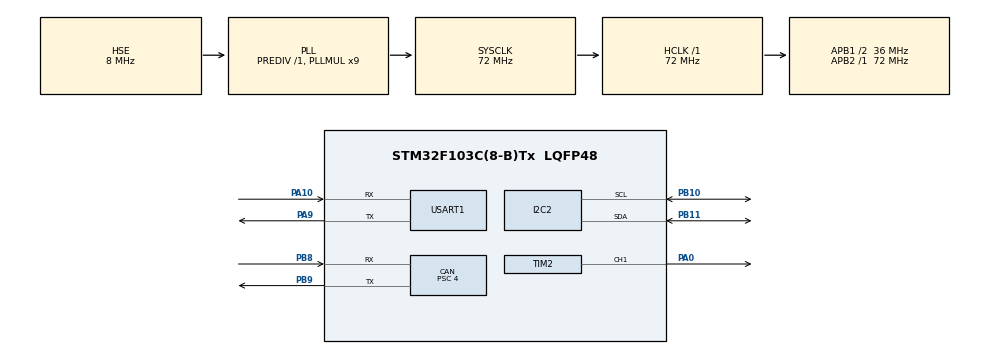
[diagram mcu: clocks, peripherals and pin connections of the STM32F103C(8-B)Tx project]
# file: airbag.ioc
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CAN.BS1=CAN_BS1_14TQ
CAN.BS2=CAN_BS2_3TQ
CAN.CalculateBaudRate=500000
CAN.CalculateTimeBit=2000
CAN.CalculateTimeQuantum=111.11111111111111
CAN.Prescaler=4
I2C2.I2C_Mode=I2C_Fast
Mcu.Family=STM32F1
Mcu.Name=STM32F103C(8-B)Tx
Mcu.Package=LQFP48
NVIC.PriorityGroup=NVIC_PRIORITYGROUP_4
NVIC.USB_LP_CAN1_RX0_IRQn=true\:0\:0\:false\:false\:true\:true\:true\:true
PA0-WKUP.Signal=S_TIM2_CH1_ETR
PA10.Mode=Asynchronous
PA10.Signal=USART1_RX
PA13.Mode=Serial_Wire
PA13.Signal=SYS_JTMS-SWDIO
PA14.Mode=Serial_Wire
PA14.Signal=SYS_JTCK-SWCLK
PA9.Mode=Asynchronous
PA9.Signal=USART1_TX
PB10.Mode=I2C
PB10.Signal=I2C2_SCL
PB11.Mode=I2C
PB11.Signal=I2C2_SDA
PB8.Mode=CAN_Activate
PB8.Signal=CAN_RX
PB9.Mode=CAN_Activate
PB9.Signal=CAN_TX
PD0-OSC_IN.Mode=HSE-External-Oscillator
PD0-OSC_IN.Signal=RCC_OSC_IN
PD1-OSC_OUT.Mode=HSE-External-Oscillator
PD1-OSC_OUT.Signal=RCC_OSC_OUT
ProjectManager.HeapSize=0x200
ProjectManager.StackSize=0x400
ProjectManager.TargetToolchain=CMake
RCC.AHBFreq_Value=72000000
RCC.APB1CLKDivider=RCC_HCLK_DIV2
RCC.APB1Freq_Value=36000000
RCC.APB1TimFreq_Value=72000000
RCC.APB2Freq_Value=72000000
RCC.APB2TimFreq_Value=72000000
RCC.HCLKFreq_Value=72000000
RCC.PLLMUL=RCC_PLL_MUL9
RCC.PLLSourceVirtual=RCC_PLLSOURCE_HSE
RCC.SYSCLKFreq_VALUE=72000000
RCC.SYSCLKSource=RCC_SYSCLKSOURCE_PLLCLK
RCC.USBFreq_Value=72000000
SH.S_TIM2_CH1_ETR.0=TIM2_CH1,PWM Generation1 CH1
TIM2.Channel-PWM\ Generation1\ CH1=TIM_CHANNEL_1
TIM2.Prescaler=71
USART1.VirtualMode=VM_ASYNC
VP_TIM2_VS_ClockSourceINT.Mode=Internal
board=custom

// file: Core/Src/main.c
/* USER CODE BEGIN Header */
/**
  ******************************************************************************
  * @file           : main.c
  * @brief          : Main program body
  ******************************************************************************
  * @attention
  *
  * Copyright (c) 2026 STMicroelectronics.
  * All rights reserved.
  *
  * This software is licensed under terms that can be found in the LICENSE file
  * in the root directory of this software component.
  * If no LICENSE file comes with this software, it is provided AS-IS.
  *
  ******************************************************************************
  */
/* USER CODE END Header */
#include "main.h"
#include "can.h"
#include "i2c.h"
#include "tim.h"
#include "usart.h"
#include "gpio.h"

/* USER CODE BEGIN Includes */
#include <math.h>
#include <stdio.h>
/* USER CODE END Includes */

/* USER CODE BEGIN PD */
#define MPU6050_ADDR 0xD0
#define SMPLRT_DIV_REG 0x19
#define ACCEL_CONFIG_REG 0x1C
#define ACCEL_XOUT_H_REG 0x3B
#define PWR_MGMT_1_REG 0x6B
#define WHO_AM_I_REG 0x75
/* USER CODE END PD */

/* USER CODE BEGIN PV */
int16_t Accel_X_RAW = 0;
int16_t Accel_Y_RAW = 0;
int16_t Accel_Z_RAW = 0;
float Ax, Ay, Az;
uint8_t is_crashed = 0;

CAN_TxHeaderTypeDef TxHeader;
uint32_t TxMailbox;
uint8_t TxData[8];

// Du lieu tu cac Node khac tren mang CAN (phai co volatile vi duoc cap nhat trong ngat)
volatile uint8_t ext_throttle = 0;
volatile uint8_t ext_brake = 0;
volatile uint32_t ext_rpm = 0;
volatile uint8_t ext_steering = 127;
volatile uint8_t ext_abs_active = 0;
/* USER CODE END PV */

void SystemClock_Config(void);
/* USER CODE BEGIN PFP */
void MPU6050_Init(void);
void MPU6050_Read_Accel(void);
void CAN_Filter_Config(void);
/* USER CODE END PFP */

/* USER CODE BEGIN 0 */
void MPU6050_Init(void)
{
  uint8_t check;
  uint8_t Data;

  // Check device ID
  HAL_I2C_Mem_Read(&hi2c2, MPU6050_ADDR, WHO_AM_I_REG, 1, &check, 1, 1000);

  // Wake up the sensor
  Data = 0x00;
  HAL_I2C_Mem_Write(&hi2c2, MPU6050_ADDR, PWR_MGMT_1_REG, 1, &Data, 1, 1000);

  // Set DATA RATE of 1KHz by writing SMPLRT_DIV register
  Data = 0x07;
  HAL_I2C_Mem_Write(&hi2c2, MPU6050_ADDR, SMPLRT_DIV_REG, 1, &Data, 1, 1000);

  // Set accelerometer configuration in ACCEL_CONFIG Register
  // FS_SEL=1 -> +/- 4g (8192 LSB/g)
  Data = 0x08;
  HAL_I2C_Mem_Write(&hi2c2, MPU6050_ADDR, ACCEL_CONFIG_REG, 1, &Data, 1, 10);
}

void MPU6050_Read_Accel(void)
{
  uint8_t Rec_Data[6] = {0}; // Khởi tạo bằng 0 để tránh rác RAM nếu I2C lỗi

  // Read 6 BYTES of data starting from ACCEL_XOUT_H register
  // Giảm timeout từ 1000ms xuống 10ms để tránh treo toàn bộ board ADAS nếu lỏng dây I2C
  if (HAL_I2C_Mem_Read(&hi2c2, MPU6050_ADDR, ACCEL_XOUT_H_REG, 1, Rec_Data, 6, 10) == HAL_OK)
  {
    Accel_X_RAW = (int16_t)(Rec_Data[0] << 8 | Rec_Data[1]);
    Accel_Y_RAW = (int16_t)(Rec_Data[2] << 8 | Rec_Data[3]);
    Accel_Z_RAW = (int16_t)(Rec_Data[4] << 8 | Rec_Data[5]);

    // Convert to g (using +/- 4g scale -> divide by 8192.0)
    Ax = Accel_X_RAW / 8192.0f;
    Ay = Accel_Y_RAW / 8192.0f;
    Az = Accel_Z_RAW / 8192.0f;
  }
  // Nếu lỗi (lỏng dây), giữ nguyên giá trị Ax, Ay, Az cũ, hệ thống vẫn chạy tiếp không bị treo!
}

void CAN_Filter_Config(void)
{
  CAN_FilterTypeDef canfilterconfig = {0};

  canfilterconfig.FilterActivation = CAN_FILTER_ENABLE;
  canfilterconfig.FilterBank = 0;
  canfilterconfig.FilterFIFOAssignment = CAN_RX_FIFO0;
  canfilterconfig.FilterIdHigh = 0x0000;
  canfilterconfig.FilterIdLow = 0x0000;
  canfilterconfig.FilterMaskIdHigh = 0x0000;
  canfilterconfig.FilterMaskIdLow = 0x0000;
  canfilterconfig.FilterMode = CAN_FILTERMODE_IDMASK;
  canfilterconfig.FilterScale = CAN_FILTERSCALE_32BIT;
  canfilterconfig.SlaveStartFilterBank = 14;

  HAL_CAN_ConfigFilter(&hcan, &canfilterconfig);
}
/* USER CODE END 0 */

int main(void)
{

  /* MCU Configuration--------------------------------------------------------*/

  /* Reset of all peripherals, Initializes the Flash interface and the Systick. */
  HAL_Init();

  /* Configure the system clock */
  SystemClock_Config();

  /* Initialize all configured peripherals */
  MX_GPIO_Init();
  MX_CAN_Init();
  MX_I2C2_Init();
  MX_TIM2_Init();
  MX_USART1_UART_Init();
  /* USER CODE BEGIN 2 */
  CAN_Filter_Config();
  while (HAL_CAN_Start(&hcan) != HAL_OK)
  {
      HAL_Delay(10);
  }
  HAL_CAN_ActivateNotification(&hcan, CAN_IT_RX_FIFO0_MSG_PENDING);

  TxHeader.StdId = 0x200;
  TxHeader.ExtId = 0x01;
  TxHeader.RTR = CAN_RTR_DATA;
  TxHeader.IDE = CAN_ID_STD;
  TxHeader.DLC = 1;
  TxHeader.TransmitGlobalTime = DISABLE;

  HAL_TIM_PWM_Start(&htim2, TIM_CHANNEL_1);
  TIM2->CCR1 = 65535; // Cấm còi kêu (Tránh lỗi tràn 16-bit của số 65536)

  MPU6050_Init();

  // Phát bản tin An Toàn ngay khi khởi động để mở khóa EPS và ABS nếu chúng bị kẹt ở lần Crash trước
  uint8_t SafeData[1] = {0};
  uint32_t SafeMailbox;
  if (HAL_CAN_GetTxMailboxesFreeLevel(&hcan) > 0) {
      HAL_CAN_AddTxMessage(&hcan, &TxHeader, SafeData, &SafeMailbox);
  }
  /* USER CODE END 2 */

  /* Infinite loop */
  /* USER CODE BEGIN WHILE */
  while (1)
  {
    MPU6050_Read_Accel();

    // Calculate total acceleration vector
    float accel_vector = sqrt(Ax*Ax + Ay*Ay + Az*Az);

    static uint32_t last_log_time = 0;
    if (HAL_GetTick() - last_log_time >= 100)
    {
      last_log_time = HAL_GetTick();

      // Đọc trực tiếp thanh ghi lỗi của CAN để chẩn đoán phần cứng
      uint8_t can_tec = (hcan.Instance->ESR >> 16) & 0xFF;
      uint8_t can_rec = (hcan.Instance->ESR >> 24) & 0xFF;
      uint8_t can_state = HAL_CAN_GetState(&hcan);

      // IN RA JSON CHO DASHBOARD (Thêm TEC và REC để debug)
      printf("{\"Ax\":%.2f,\"Ay\":%.2f,\"Az\":%.2f,\"Ga\":%u,\"Phanh\":%u,\"RPM\":%lu,\"Crash\":%u,\"Steer\":%u,\"ABS\":%u,\"TEC\":%u,\"REC\":%u,\"ST\":%u}\r\n",
             Ax, Ay, Az, ext_throttle, ext_brake, ext_rpm, is_crashed, ext_steering, ext_abs_active, can_tec, can_rec, can_state);
    }

    static uint32_t crash_time = 0;
    static uint8_t is_logged = 0;

    // Threshold > 5.0g for strong collision / rollover (Tăng ngưỡng lên 5.0 để chống nhiễu MPU6050)
    if (accel_vector > 5.0f && is_crashed == 0)
    {
      is_crashed = 1;
      crash_time = HAL_GetTick();
      is_logged = 0; // Reset log cờ
    }

    if (is_crashed == 1)
    {
      // Sau khi tai nạn, hệ thống bị khoá chết vĩnh viễn (chỉ có thể phục hồi bằng nút Reset cứng trên mạch)
      // Còi kêu trong 5 giây đầu tiên, sau đó tắt cho đỡ ồn
      if (HAL_GetTick() - crash_time > 5000)
      {
        TIM2->CCR1 = 65535; // Tắt còi
      }
      else
      {
        TIM2->CCR1 = 0; // Bật còi
        if (is_logged == 0) {
          printf("[BUZZER] TAI NAN! He thong da bi khoa cung!\r\n");
          is_logged = 1;
        }
      }

      // LUÔN LUÔN phát liên tục bản tin KHẨN CẤP (1) mỗi 100ms để đảm bảo các ECU khác bị khoá
      TxData[0] = 1;
      static uint32_t last_emergency_tx = 0;
      if (HAL_GetTick() - last_emergency_tx >= 100)
      {
        last_emergency_tx = HAL_GetTick();
        if (HAL_CAN_GetTxMailboxesFreeLevel(&hcan) > 0)
        {
          HAL_CAN_AddTxMessage(&hcan, &TxHeader, TxData, &TxMailbox);
        }
      }
    }
    else
    {
      // TRẠNG THÁI AN TOÀN (BÌNH THƯỜNG)
      // Luôn luôn phát bản tin An Toàn (0) mỗi 500ms để đảm bảo các ECU luôn được mở khóa.
      // Việc phát liên tục này KHÔNG làm reset EPS racing cycle vì EPS chỉ xử lý khi eps_emergency_stop == 1.
      TxData[0] = 0;
      static uint32_t last_safe_tx = 0;
      if (HAL_GetTick() - last_safe_tx >= 500)
      {
        last_safe_tx = HAL_GetTick();
        if (HAL_CAN_GetTxMailboxesFreeLevel(&hcan) > 0)
        {
          HAL_CAN_AddTxMessage(&hcan, &TxHeader, TxData, &TxMailbox);
        }
      }
    }

    HAL_Delay(15); // 15ms cycle loop
    /* USER CODE END WHILE */

  }
}

void SystemClock_Config(void)
{
  RCC_OscInitTypeDef RCC_OscInitStruct = {0};
  RCC_ClkInitTypeDef RCC_ClkInitStruct = {0};

  /** Initializes the RCC Oscillators according to the specified parameters
  * in the RCC_OscInitTypeDef structure.
  */
  RCC_OscInitStruct.OscillatorType = RCC_OSCILLATORTYPE_HSE;
  RCC_OscInitStruct.HSEState = RCC_HSE_ON;
  RCC_OscInitStruct.HSEPredivValue = RCC_HSE_PREDIV_DIV1;
  RCC_OscInitStruct.HSIState = RCC_HSI_ON;
  RCC_OscInitStruct.PLL.PLLState = RCC_PLL_ON;
  RCC_OscInitStruct.PLL.PLLSource = RCC_PLLSOURCE_HSE;
  RCC_OscInitStruct.PLL.PLLMUL = RCC_PLL_MUL9;
  if (HAL_RCC_OscConfig(&RCC_OscInitStruct) != HAL_OK)
  {
    Error_Handler();
  }

  /** Initializes the CPU, AHB and APB buses clocks
  */
  RCC_ClkInitStruct.ClockType = RCC_CLOCKTYPE_HCLK|RCC_CLOCKTYPE_SYSCLK
                              |RCC_CLOCKTYPE_PCLK1|RCC_CLOCKTYPE_PCLK2;
  RCC_ClkInitStruct.SYSCLKSource = RCC_SYSCLKSOURCE_PLLCLK;
  RCC_ClkInitStruct.AHBCLKDivider = RCC_SYSCLK_DIV1;
  RCC_ClkInitStruct.APB1CLKDivider = RCC_HCLK_DIV2;
  RCC_ClkInitStruct.APB2CLKDivider = RCC_HCLK_DIV1;

  if (HAL_RCC_ClockConfig(&RCC_ClkInitStruct, FLASH_LATENCY_2) != HAL_OK)
  {
    Error_Handler();
  }
}

/* USER CODE BEGIN 4 */
#ifdef __GNUC__
#define PUTCHAR_PROTOTYPE int __io_putchar(int ch)
#else
#define PUTCHAR_PROTOTYPE int fputc(int ch, FILE *f)
#endif

PUTCHAR_PROTOTYPE
{
  HAL_UART_Transmit(&huart1, (uint8_t *)&ch, 1, HAL_MAX_DELAY);
  return ch;
}

int _write(int file, char *ptr, int len)
{
  HAL_UART_Transmit(&huart1, (uint8_t *)ptr, len, HAL_MAX_DELAY);
  return len;
}

void HAL_CAN_RxFifo0MsgPendingCallback(CAN_HandleTypeDef *hcan)
{
  CAN_RxHeaderTypeDef RxHeader;
  uint8_t RxData[8];

  // Khắc phục lỗi kẹt FIFO: Nếu bị Overrun (FOVR0), phần cứng sẽ từ chối nhận thêm data mãi mãi.
  // Xóa cờ Overrun thủ công ở đây giúp hệ thống luôn tự phục hồi nếu bị tràn do nhiễu hoặc CPU bận.
  __HAL_CAN_CLEAR_FLAG(hcan, CAN_FLAG_FOV0);

  if (HAL_CAN_GetRxMessage(hcan, CAN_RX_FIFO0, &RxHeader, RxData) != HAL_OK)
  {
    return;
  }

  // Nhan du lieu tu Node EPS (ID 0x100)
  if (RxHeader.StdId == 0x100)
  {
    ext_throttle = RxData[0];
    ext_brake = RxData[1];
    if (RxHeader.DLC >= 3) {
      ext_steering = RxData[2];
    }
  }
  // Nhan du lieu tu Node ABS (ID 0x102)
  else if (RxHeader.StdId == 0x102)
  {
    ext_rpm = (RxData[0] << 8) | RxData[1];
    if (RxHeader.DLC >= 3) {
      ext_abs_active = RxData[2];
    }
  }
}
/* USER CODE END 4 */

void Error_Handler(void)
{
  __disable_irq();
  while (1)
  {
  }
}
